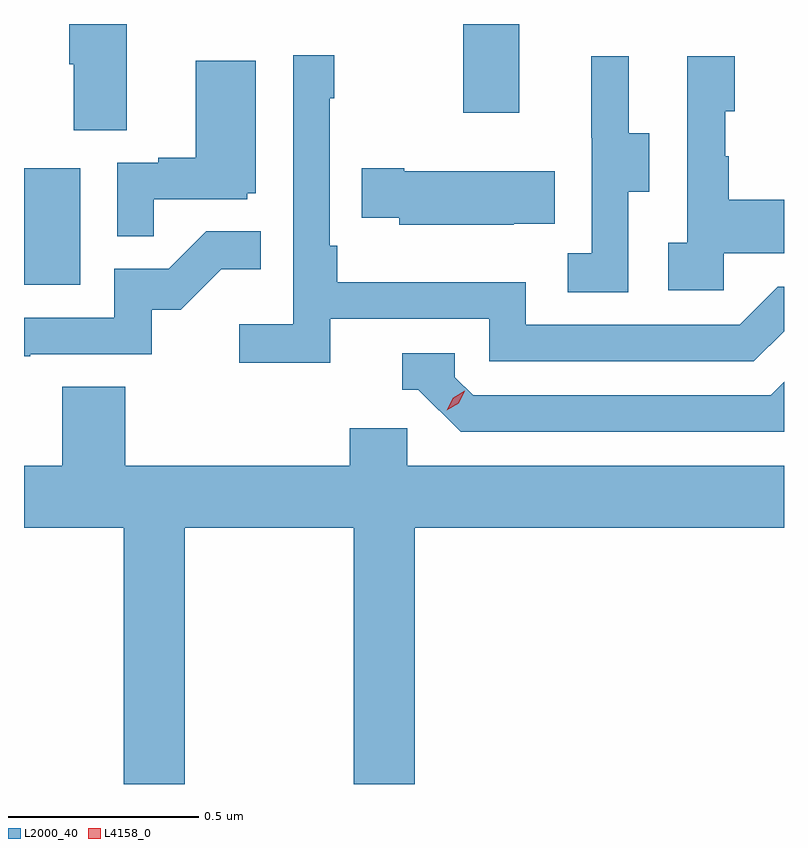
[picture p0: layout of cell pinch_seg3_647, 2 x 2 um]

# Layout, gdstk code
import gdstk
lib = gdstk.Library(unit=1e-6, precision=1e-09)
def R(c, l, rs):  # rectangles x0, y0, x1, y1
    for r in rs: c.add(gdstk.rectangle(r[:2], r[2:], *l))
def P(c, l, *ps):  # polygons
    for p in ps: c.add(gdstk.Polygon(p, *l))
L2000_40 = (2000, 40)
L4158_0 = (4158, 0)

pinch_seg3_647 = lib.new_cell('pinch_seg3_647')
R(pinch_seg3_647, L2000_40, [(1037.13,680.244,1037.278,680.551), (1038.286,680.697,1038.433,680.93)])
P(pinch_seg3_647, L2000_40, [(1037.401,680.93),(1037.249,680.93),(1037.249,680.824),(1037.261,680.824),(1037.261,680.65),(1037.401,680.65)],
  [(1037.936,680.154),(1038.354,680.154),(1038.354,680.043),(1039.051,680.043),(1039.13,680.122),(1039.13,680.238),(1039.113,680.238),(1039.014,680.139),(1038.45,680.139),(1038.45,680.251),(1037.954,680.251),(1037.954,680.347),(1037.934,680.347),(1037.934,680.735),(1037.947,680.735),(1037.947,680.848),(1037.838,680.848),(1037.838,680.14),(1037.697,680.14),(1037.697,680.038),(1037.936,680.038)],
  [(1038.972,680.327),(1039.13,680.327),(1039.13,680.467),(1038.985,680.467),(1038.985,680.582),(1038.975,680.582),(1038.975,680.7),(1039,680.7),(1039,680.845),(1038.876,680.845),(1038.876,680.354),(1038.825,680.354),(1038.825,680.229),(1038.972,680.229)],
  [(1038.72,680.488),(1038.775,680.488),(1038.775,680.643),(1038.721,680.643),(1038.721,680.845),(1038.623,680.845),(1038.623,680.631),(1038.624,680.631),(1038.624,680.327),(1038.561,680.327),(1038.561,680.224),(1038.72,680.224)],
  [(1037.471,680.469),(1037.718,680.469),(1037.718,680.484),(1037.74,680.484),(1037.74,680.833),(1037.582,680.833),(1037.582,680.578),(1037.483,680.578),(1037.483,680.565),(1037.376,680.565),(1037.376,680.371),(1037.471,680.371)],
  [(1038.419,680.405),(1038.527,680.405),(1038.527,680.542),(1038.13,680.542),(1038.13,680.55),(1038.019,680.55),(1038.019,680.42),(1038.117,680.42),(1038.117,680.402),(1038.419,680.402)],
  [(1037.147,680.061),(1037.466,680.061),(1037.466,680.178),(1037.542,680.178),(1037.649,680.285),(1037.753,680.285),(1037.753,680.384),(1037.609,680.384),(1037.511,680.286),(1037.367,680.286),(1037.367,680.157),(1037.13,680.157),(1037.13,680.056),(1037.147,680.056)],
  [(1039.13,679.988),(1039.095,679.953),(1038.312,679.953),(1038.264,680.001),(1038.264,680.064),(1038.125,680.064),(1038.125,679.968),(1038.168,679.968),(1038.279,679.857),(1039.13,679.857)],
  [(1037.553,679.604),(1037.998,679.604),(1037.998,678.93),(1038.158,678.93),(1038.158,679.604),(1039.13,679.604),(1039.13,679.768),(1038.138,679.768),(1038.138,679.866),(1037.987,679.866),(1037.987,679.768),(1037.396,679.768),(1037.396,679.976),(1037.231,679.976),(1037.231,679.768),(1037.13,679.768),(1037.13,679.604),(1037.393,679.604),(1037.393,678.93),(1037.553,678.93)])
P(pinch_seg3_647, L4158_0, [(1038.243,679.913),(1038.243,679.913),(1038.259,679.946),(1038.29,679.965),(1038.29,679.965),(1038.29,679.965),(1038.274,679.932),(1038.243,679.913)])

lib.write_gds('pinch_seg3_647.gds')
